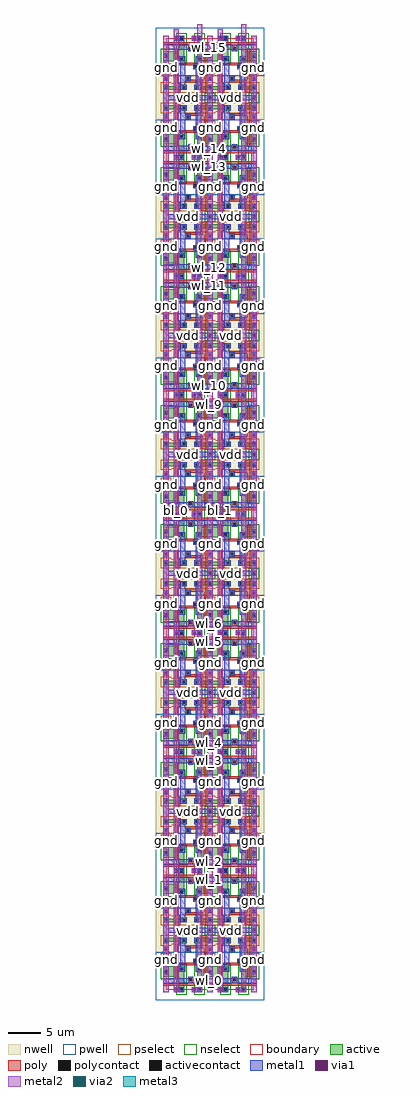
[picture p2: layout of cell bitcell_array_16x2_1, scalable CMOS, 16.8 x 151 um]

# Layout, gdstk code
import gdstk
lib = gdstk.Library(unit=1e-6, precision=1e-09)
def R(c, l, rs):  # rectangles x0, y0, x1, y1
    for r in rs: c.add(gdstk.rectangle(r[:2], r[2:], *l))
def A(c, l, x, y, w, h, nx, ny, dx, dy):  # array of equal rectangles
    R(c, l, [(x+i*dx, y+j*dy, x+i*dx+w, y+j*dy+h) for i in range(nx) for j in range(ny)])
pwell = (41, 0)
nwell = (42, 0)
active = (43, 0)
pselect = (44, 0)
nselect = (45, 0)
poly = (46, 0)
polycontact = (47, 0)
activecontact = (48, 0)
metal1 = (49, 0)
via1 = (50, 0)
metal2 = (51, 0)
via2 = (61, 0)
metal3 = (62, 0)
boundary = (63, 0)

cell_6t = lib.new_cell('cell_6t')
R(cell_6t, pwell, [(-1.6,-1.6,8.4,5.8)])
R(cell_6t, nwell, [(-1.6,5.8,8.4,10.2)])
A(cell_6t, active, 2.4, 7.2, 0.8, 0.2, 3, 1, 2, 0)
R(cell_6t, active, [(2,-0.4,2.8,2), (4.8,-0.4,5.6,2), (-0.4,2,2.8,3.6), (4.8,2,7.2,3.6), (-0.4,4.4,0.4,5.2), (6.4,4.4,7.2,5.2), (-0.4,7.2,0.4,7.4), (-0.4,7.4,3.2,8), (4.4,7.4,7.2,8), (6.4,8.8,7.2,9.6)])
R(cell_6t, pselect, [(-0.8,4,0.8,5.6), (6,4,7.6,5.6), (-0.8,6.8,0.8,7), (2,6.8,7.6,7), (-0.8,7,7.6,8.4)])
R(cell_6t, nselect, [(1.6,-0.8,3.2,1.6), (4.4,-0.8,6,1.6), (-0.8,1.6,3.2,4), (4.4,1.6,7.6,4), (6,8.4,7.6,10)])
R(cell_6t, poly, [(-0.4,0.6,7.2,1), (3.4,1,4.2,2), (1.4,1.6,1.8,3.8), (5.8,1.6,6.2,6.4), (1.4,3.8,4.8,4), (1.4,4,5,4.2), (1.4,4.2,1.8,7), (4.2,4.2,5,4.8), (3,5.8,3.8,6.4), (3,6.4,6.2,6.8), (5.4,6.8,6.2,8.4), (1.4,7,2.2,8.4)])
R(cell_6t, polycontact, [(3.6,1.4,4,1.8), (4.4,4.2,4.8,4.6), (3.2,6,3.6,6.4)])
A(cell_6t, activecontact, 2.6, 7.4, 0.4, 0.4, 3, 1, 2, 0)
R(cell_6t, activecontact, [(2.2,-0.2,2.6,0.2), (5,-0.2,5.4,0.2), (-0.2,2.6,0.2,3), (6.6,2.6,7,3), (2.2,3,2.6,3.4), (5,3,5.4,3.4), (-0.2,4.6,0.2,5), (6.6,4.6,7,5), (-0.2,7.4,0.2,7.8), (6.6,9,7,9.4)])
R(cell_6t, metal1, [(1.2,-0.4,2.8,0.4), (4,-0.4,5.6,0.4), (-0.4,1,7.2,1.8), (-0.4,1,7.2,1.8), (3.4,1.8,4.2,2), (-0.4,2.4,0.4,6.6), (6.4,2.4,7.2,6.6), (2,2.8,3,3.6), (4.6,2.8,5.6,3.6), (2.2,3.6,3,5.8), (4.6,3.6,5.4,4), (4.2,4,5.4,4.8), (4.6,4.8,5.4,7.2), (2.2,5.8,3.8,6.6), (2.2,6.6,3,7.2), (-0.4,7.2,0.4,8.8), (2.2,7.2,3.2,8), (4.4,7.2,5.4,8), (6.4,7.2,7.2,8.8), (-0.4,8.8,7.2,9.6)])
R(cell_6t, via1, [(1.4,-0.2,1.8,0.2), (4.2,-0.2,4.6,0.2), (-0.2,6,0.2,6.4), (6.6,6,7,6.4), (3.2,9,3.6,9.4)])
R(cell_6t, metal2, [(-0.4,-0.4,0.4,9.6), (-0.4,-0.4,0.4,9.6), (1.2,-0.4,2,9.6), (1.2,-0.4,2,9.6), (4,-0.4,5.6,0.4), (6.4,-0.4,7.2,9.6), (6.4,-0.4,7.2,9.6), (4.8,0.4,5.6,9.6), (4.8,0.4,5.6,9.6), (3,8.8,3.8,9.6), (3,8.8,3.8,9.6)])
R(cell_6t, boundary, [(0,0,6.8,9.2)])
cell_6t.add(gdstk.Label('gnd', (0,0), layer=51, texttype=0))
cell_6t.add(gdstk.Label('gnd', (6.8,0), layer=51, texttype=0))
cell_6t.add(gdstk.Label('vdd', (3.4,9.2), layer=51, texttype=0))
cell_6t.add(gdstk.Label('bl', (1.6,8.6), layer=51, texttype=0))
cell_6t.add(gdstk.Label('br', (5.2,8.6), layer=51, texttype=0))
cell_6t.add(gdstk.Label('wl', (0.8,1.4), layer=49, texttype=0))
cell_6t.add(gdstk.Label('bl', (1.6,4.6), layer=51, texttype=0))
cell_6t.add(gdstk.Label('br', (5.2,5), layer=51, texttype=0))
cell_6t.add(gdstk.Label('wl', (3.4,1.4), layer=49, texttype=0))
cell_6t.add(gdstk.Label('vdd', (3.4,9.2), layer=51, texttype=0))
cell_6t.add(gdstk.Label('gnd', (0,4.6), layer=51, texttype=0))
cell_6t.add(gdstk.Label('gnd', (6.8,4.6), layer=51, texttype=0))

metal2_via2_metal3_1x1 = lib.new_cell('metal2_via2_metal3_1x1')
R(metal2_via2_metal3_1x1, metal2, [(0,0,0.8,0.8)])
R(metal2_via2_metal3_1x1, via2, [(0.2,0.2,0.6,0.6)])
R(metal2_via2_metal3_1x1, metal3, [(0,0,0.8,0.8)])

bitcell_array_16x2_1 = lib.new_cell('bitcell_array_16x2_1')
R(bitcell_array_16x2_1, metal1, [(-0.4,1,13.8,1.8), (-0.4,16.6,13.8,17.4), (-0.4,19.4,13.8,20.2), (-0.4,35,13.8,35.8), (-0.4,37.8,13.8,38.6), (-0.4,53.4,13.8,54.2), (-0.4,56.2,13.8,57), (-0.4,71.8,13.8,72.6), (-0.4,74.6,13.8,75.4), (-0.4,90.2,13.8,91), (-0.4,93,13.8,93.8), (-0.4,108.6,13.8,109.4), (-0.4,111.4,13.8,112.2), (-0.4,127,13.8,127.8), (-0.4,129.8,13.8,130.6), (-0.4,145.4,13.8,146.2)])
R(bitcell_array_16x2_1, metal2, [(1.2,-0.4,2,148.6), (8,-0.4,8.8,148.6), (4.8,0.4,5.6,149.4), (11.6,0.4,12.4,149.4)])
A(bitcell_array_16x2_1, metal3, -0.4, 4.2, 0.8, 0.8, 3, 16, 6.8, 9.2)
A(bitcell_array_16x2_1, metal3, 3, 8.8, 0.8, 0.8, 1, 8, 0, 18.4)
A(bitcell_array_16x2_1, metal3, 9.8, 8.8, 0.8, 0.8, 1, 8, 0, 18.4)
bitcell_array_16x2_1.add(gdstk.Reference(cell_6t, (0,0)))
bitcell_array_16x2_1.add(gdstk.Reference(cell_6t, (0,18.4), x_reflection=True))
bitcell_array_16x2_1.add(gdstk.Reference(cell_6t, (0,18.4)))
bitcell_array_16x2_1.add(gdstk.Reference(cell_6t, (0,36.8), x_reflection=True))
bitcell_array_16x2_1.add(gdstk.Reference(cell_6t, (0,36.8)))
bitcell_array_16x2_1.add(gdstk.Reference(cell_6t, (0,55.2), x_reflection=True))
bitcell_array_16x2_1.add(gdstk.Reference(cell_6t, (0,55.2)))
bitcell_array_16x2_1.add(gdstk.Reference(cell_6t, (0,73.6), x_reflection=True))
bitcell_array_16x2_1.add(gdstk.Reference(cell_6t, (0,73.6)))
bitcell_array_16x2_1.add(gdstk.Reference(cell_6t, (0,92), x_reflection=True))
bitcell_array_16x2_1.add(gdstk.Reference(cell_6t, (0,92)))
bitcell_array_16x2_1.add(gdstk.Reference(cell_6t, (0,110.4), x_reflection=True))
bitcell_array_16x2_1.add(gdstk.Reference(cell_6t, (0,110.4)))
bitcell_array_16x2_1.add(gdstk.Reference(cell_6t, (0,128.8), x_reflection=True))
bitcell_array_16x2_1.add(gdstk.Reference(cell_6t, (0,128.8)))
bitcell_array_16x2_1.add(gdstk.Reference(cell_6t, (0,147.2), x_reflection=True))
bitcell_array_16x2_1.add(gdstk.Reference(cell_6t, (6.8,0)))
bitcell_array_16x2_1.add(gdstk.Reference(cell_6t, (6.8,18.4), x_reflection=True))
bitcell_array_16x2_1.add(gdstk.Reference(cell_6t, (6.8,18.4)))
bitcell_array_16x2_1.add(gdstk.Reference(cell_6t, (6.8,36.8), x_reflection=True))
bitcell_array_16x2_1.add(gdstk.Reference(cell_6t, (6.8,36.8)))
bitcell_array_16x2_1.add(gdstk.Reference(cell_6t, (6.8,55.2), x_reflection=True))
bitcell_array_16x2_1.add(gdstk.Reference(cell_6t, (6.8,55.2)))
bitcell_array_16x2_1.add(gdstk.Reference(cell_6t, (6.8,73.6), x_reflection=True))
bitcell_array_16x2_1.add(gdstk.Reference(cell_6t, (6.8,73.6)))
bitcell_array_16x2_1.add(gdstk.Reference(cell_6t, (6.8,92), x_reflection=True))
bitcell_array_16x2_1.add(gdstk.Reference(cell_6t, (6.8,92)))
bitcell_array_16x2_1.add(gdstk.Reference(cell_6t, (6.8,110.4), x_reflection=True))
bitcell_array_16x2_1.add(gdstk.Reference(cell_6t, (6.8,110.4)))
bitcell_array_16x2_1.add(gdstk.Reference(cell_6t, (6.8,128.8), x_reflection=True))
bitcell_array_16x2_1.add(gdstk.Reference(cell_6t, (6.8,128.8)))
bitcell_array_16x2_1.add(gdstk.Reference(cell_6t, (6.8,147.2), x_reflection=True))
bitcell_array_16x2_1.add(gdstk.Reference(metal2_via2_metal3_1x1, (3,8.8)))
bitcell_array_16x2_1.add(gdstk.Reference(metal2_via2_metal3_1x1, (-0.4,4.2)))
bitcell_array_16x2_1.add(gdstk.Reference(metal2_via2_metal3_1x1, (6.4,4.2)))
bitcell_array_16x2_1.add(gdstk.Reference(metal2_via2_metal3_1x1, (9.8,8.8)))
bitcell_array_16x2_1.add(gdstk.Reference(metal2_via2_metal3_1x1, (6.4,4.2)))
bitcell_array_16x2_1.add(gdstk.Reference(metal2_via2_metal3_1x1, (13.2,4.2)))
bitcell_array_16x2_1.add(gdstk.Reference(metal2_via2_metal3_1x1, (3,8.8)))
bitcell_array_16x2_1.add(gdstk.Reference(metal2_via2_metal3_1x1, (-0.4,13.4)))
bitcell_array_16x2_1.add(gdstk.Reference(metal2_via2_metal3_1x1, (6.4,13.4)))
bitcell_array_16x2_1.add(gdstk.Reference(metal2_via2_metal3_1x1, (9.8,8.8)))
bitcell_array_16x2_1.add(gdstk.Reference(metal2_via2_metal3_1x1, (6.4,13.4)))
bitcell_array_16x2_1.add(gdstk.Reference(metal2_via2_metal3_1x1, (13.2,13.4)))
bitcell_array_16x2_1.add(gdstk.Reference(metal2_via2_metal3_1x1, (3,27.2)))
bitcell_array_16x2_1.add(gdstk.Reference(metal2_via2_metal3_1x1, (-0.4,22.6)))
bitcell_array_16x2_1.add(gdstk.Reference(metal2_via2_metal3_1x1, (6.4,22.6)))
bitcell_array_16x2_1.add(gdstk.Reference(metal2_via2_metal3_1x1, (9.8,27.2)))
bitcell_array_16x2_1.add(gdstk.Reference(metal2_via2_metal3_1x1, (6.4,22.6)))
bitcell_array_16x2_1.add(gdstk.Reference(metal2_via2_metal3_1x1, (13.2,22.6)))
bitcell_array_16x2_1.add(gdstk.Reference(metal2_via2_metal3_1x1, (3,27.2)))
bitcell_array_16x2_1.add(gdstk.Reference(metal2_via2_metal3_1x1, (-0.4,31.8)))
bitcell_array_16x2_1.add(gdstk.Reference(metal2_via2_metal3_1x1, (6.4,31.8)))
bitcell_array_16x2_1.add(gdstk.Reference(metal2_via2_metal3_1x1, (9.8,27.2)))
bitcell_array_16x2_1.add(gdstk.Reference(metal2_via2_metal3_1x1, (6.4,31.8)))
bitcell_array_16x2_1.add(gdstk.Reference(metal2_via2_metal3_1x1, (13.2,31.8)))
bitcell_array_16x2_1.add(gdstk.Reference(metal2_via2_metal3_1x1, (3,45.6)))
bitcell_array_16x2_1.add(gdstk.Reference(metal2_via2_metal3_1x1, (-0.4,41)))
bitcell_array_16x2_1.add(gdstk.Reference(metal2_via2_metal3_1x1, (6.4,41)))
bitcell_array_16x2_1.add(gdstk.Reference(metal2_via2_metal3_1x1, (9.8,45.6)))
bitcell_array_16x2_1.add(gdstk.Reference(metal2_via2_metal3_1x1, (6.4,41)))
bitcell_array_16x2_1.add(gdstk.Reference(metal2_via2_metal3_1x1, (13.2,41)))
bitcell_array_16x2_1.add(gdstk.Reference(metal2_via2_metal3_1x1, (3,45.6)))
bitcell_array_16x2_1.add(gdstk.Reference(metal2_via2_metal3_1x1, (-0.4,50.2)))
bitcell_array_16x2_1.add(gdstk.Reference(metal2_via2_metal3_1x1, (6.4,50.2)))
bitcell_array_16x2_1.add(gdstk.Reference(metal2_via2_metal3_1x1, (9.8,45.6)))
bitcell_array_16x2_1.add(gdstk.Reference(metal2_via2_metal3_1x1, (6.4,50.2)))
bitcell_array_16x2_1.add(gdstk.Reference(metal2_via2_metal3_1x1, (13.2,50.2)))
bitcell_array_16x2_1.add(gdstk.Reference(metal2_via2_metal3_1x1, (3,64)))
bitcell_array_16x2_1.add(gdstk.Reference(metal2_via2_metal3_1x1, (-0.4,59.4)))
bitcell_array_16x2_1.add(gdstk.Reference(metal2_via2_metal3_1x1, (6.4,59.4)))
bitcell_array_16x2_1.add(gdstk.Reference(metal2_via2_metal3_1x1, (9.8,64)))
bitcell_array_16x2_1.add(gdstk.Reference(metal2_via2_metal3_1x1, (6.4,59.4)))
bitcell_array_16x2_1.add(gdstk.Reference(metal2_via2_metal3_1x1, (13.2,59.4)))
bitcell_array_16x2_1.add(gdstk.Reference(metal2_via2_metal3_1x1, (3,64)))
bitcell_array_16x2_1.add(gdstk.Reference(metal2_via2_metal3_1x1, (-0.4,68.6)))
bitcell_array_16x2_1.add(gdstk.Reference(metal2_via2_metal3_1x1, (6.4,68.6)))
bitcell_array_16x2_1.add(gdstk.Reference(metal2_via2_metal3_1x1, (9.8,64)))
bitcell_array_16x2_1.add(gdstk.Reference(metal2_via2_metal3_1x1, (6.4,68.6)))
bitcell_array_16x2_1.add(gdstk.Reference(metal2_via2_metal3_1x1, (13.2,68.6)))
bitcell_array_16x2_1.add(gdstk.Reference(metal2_via2_metal3_1x1, (3,82.4)))
bitcell_array_16x2_1.add(gdstk.Reference(metal2_via2_metal3_1x1, (-0.4,77.8)))
bitcell_array_16x2_1.add(gdstk.Reference(metal2_via2_metal3_1x1, (6.4,77.8)))
bitcell_array_16x2_1.add(gdstk.Reference(metal2_via2_metal3_1x1, (9.8,82.4)))
bitcell_array_16x2_1.add(gdstk.Reference(metal2_via2_metal3_1x1, (6.4,77.8)))
bitcell_array_16x2_1.add(gdstk.Reference(metal2_via2_metal3_1x1, (13.2,77.8)))
bitcell_array_16x2_1.add(gdstk.Reference(metal2_via2_metal3_1x1, (3,82.4)))
bitcell_array_16x2_1.add(gdstk.Reference(metal2_via2_metal3_1x1, (-0.4,87)))
bitcell_array_16x2_1.add(gdstk.Reference(metal2_via2_metal3_1x1, (6.4,87)))
bitcell_array_16x2_1.add(gdstk.Reference(metal2_via2_metal3_1x1, (9.8,82.4)))
bitcell_array_16x2_1.add(gdstk.Reference(metal2_via2_metal3_1x1, (6.4,87)))
bitcell_array_16x2_1.add(gdstk.Reference(metal2_via2_metal3_1x1, (13.2,87)))
bitcell_array_16x2_1.add(gdstk.Reference(metal2_via2_metal3_1x1, (3,100.8)))
bitcell_array_16x2_1.add(gdstk.Reference(metal2_via2_metal3_1x1, (-0.4,96.2)))
bitcell_array_16x2_1.add(gdstk.Reference(metal2_via2_metal3_1x1, (6.4,96.2)))
bitcell_array_16x2_1.add(gdstk.Reference(metal2_via2_metal3_1x1, (9.8,100.8)))
bitcell_array_16x2_1.add(gdstk.Reference(metal2_via2_metal3_1x1, (6.4,96.2)))
bitcell_array_16x2_1.add(gdstk.Reference(metal2_via2_metal3_1x1, (13.2,96.2)))
bitcell_array_16x2_1.add(gdstk.Reference(metal2_via2_metal3_1x1, (3,100.8)))
bitcell_array_16x2_1.add(gdstk.Reference(metal2_via2_metal3_1x1, (-0.4,105.4)))
bitcell_array_16x2_1.add(gdstk.Reference(metal2_via2_metal3_1x1, (6.4,105.4)))
bitcell_array_16x2_1.add(gdstk.Reference(metal2_via2_metal3_1x1, (9.8,100.8)))
bitcell_array_16x2_1.add(gdstk.Reference(metal2_via2_metal3_1x1, (6.4,105.4)))
bitcell_array_16x2_1.add(gdstk.Reference(metal2_via2_metal3_1x1, (13.2,105.4)))
bitcell_array_16x2_1.add(gdstk.Reference(metal2_via2_metal3_1x1, (3,119.2)))
bitcell_array_16x2_1.add(gdstk.Reference(metal2_via2_metal3_1x1, (-0.4,114.6)))
bitcell_array_16x2_1.add(gdstk.Reference(metal2_via2_metal3_1x1, (6.4,114.6)))
bitcell_array_16x2_1.add(gdstk.Reference(metal2_via2_metal3_1x1, (9.8,119.2)))
bitcell_array_16x2_1.add(gdstk.Reference(metal2_via2_metal3_1x1, (6.4,114.6)))
bitcell_array_16x2_1.add(gdstk.Reference(metal2_via2_metal3_1x1, (13.2,114.6)))
bitcell_array_16x2_1.add(gdstk.Reference(metal2_via2_metal3_1x1, (3,119.2)))
bitcell_array_16x2_1.add(gdstk.Reference(metal2_via2_metal3_1x1, (-0.4,123.8)))
bitcell_array_16x2_1.add(gdstk.Reference(metal2_via2_metal3_1x1, (6.4,123.8)))
bitcell_array_16x2_1.add(gdstk.Reference(metal2_via2_metal3_1x1, (9.8,119.2)))
bitcell_array_16x2_1.add(gdstk.Reference(metal2_via2_metal3_1x1, (6.4,123.8)))
bitcell_array_16x2_1.add(gdstk.Reference(metal2_via2_metal3_1x1, (13.2,123.8)))
bitcell_array_16x2_1.add(gdstk.Reference(metal2_via2_metal3_1x1, (3,137.6)))
bitcell_array_16x2_1.add(gdstk.Reference(metal2_via2_metal3_1x1, (-0.4,133)))
bitcell_array_16x2_1.add(gdstk.Reference(metal2_via2_metal3_1x1, (6.4,133)))
bitcell_array_16x2_1.add(gdstk.Reference(metal2_via2_metal3_1x1, (9.8,137.6)))
bitcell_array_16x2_1.add(gdstk.Reference(metal2_via2_metal3_1x1, (6.4,133)))
bitcell_array_16x2_1.add(gdstk.Reference(metal2_via2_metal3_1x1, (13.2,133)))
bitcell_array_16x2_1.add(gdstk.Reference(metal2_via2_metal3_1x1, (3,137.6)))
bitcell_array_16x2_1.add(gdstk.Reference(metal2_via2_metal3_1x1, (-0.4,142.2)))
bitcell_array_16x2_1.add(gdstk.Reference(metal2_via2_metal3_1x1, (6.4,142.2)))
bitcell_array_16x2_1.add(gdstk.Reference(metal2_via2_metal3_1x1, (9.8,137.6)))
bitcell_array_16x2_1.add(gdstk.Reference(metal2_via2_metal3_1x1, (6.4,142.2)))
bitcell_array_16x2_1.add(gdstk.Reference(metal2_via2_metal3_1x1, (13.2,142.2)))
bitcell_array_16x2_1.add(gdstk.Label('bl_0', (1.6,74.1), layer=51, texttype=0))
bitcell_array_16x2_1.add(gdstk.Label('br_0', (5.2,74.9), layer=51, texttype=0))
bitcell_array_16x2_1.add(gdstk.Label('bl_1', (8.4,74.1), layer=51, texttype=0))
bitcell_array_16x2_1.add(gdstk.Label('br_1', (12,74.9), layer=51, texttype=0))
bitcell_array_16x2_1.add(gdstk.Label('wl_0', (6.7,1.4), layer=49, texttype=0))
bitcell_array_16x2_1.add(gdstk.Label('wl_1', (6.7,17), layer=49, texttype=0))
bitcell_array_16x2_1.add(gdstk.Label('wl_2', (6.7,19.8), layer=49, texttype=0))
bitcell_array_16x2_1.add(gdstk.Label('wl_3', (6.7,35.4), layer=49, texttype=0))
bitcell_array_16x2_1.add(gdstk.Label('wl_4', (6.7,38.2), layer=49, texttype=0))
bitcell_array_16x2_1.add(gdstk.Label('wl_5', (6.7,53.8), layer=49, texttype=0))
bitcell_array_16x2_1.add(gdstk.Label('wl_6', (6.7,56.6), layer=49, texttype=0))
bitcell_array_16x2_1.add(gdstk.Label('wl_7', (6.7,72.2), layer=49, texttype=0))
bitcell_array_16x2_1.add(gdstk.Label('wl_8', (6.7,75), layer=49, texttype=0))
bitcell_array_16x2_1.add(gdstk.Label('wl_9', (6.7,90.6), layer=49, texttype=0))
bitcell_array_16x2_1.add(gdstk.Label('wl_10', (6.7,93.4), layer=49, texttype=0))
bitcell_array_16x2_1.add(gdstk.Label('wl_11', (6.7,109), layer=49, texttype=0))
bitcell_array_16x2_1.add(gdstk.Label('wl_12', (6.7,111.8), layer=49, texttype=0))
bitcell_array_16x2_1.add(gdstk.Label('wl_13', (6.7,127.4), layer=49, texttype=0))
bitcell_array_16x2_1.add(gdstk.Label('wl_14', (6.7,130.2), layer=49, texttype=0))
bitcell_array_16x2_1.add(gdstk.Label('wl_15', (6.7,145.8), layer=49, texttype=0))
bitcell_array_16x2_1.add(gdstk.Label('vdd', (3.4,9.2), layer=62, texttype=0))
bitcell_array_16x2_1.add(gdstk.Label('vdd', (10.2,9.2), layer=62, texttype=0))
bitcell_array_16x2_1.add(gdstk.Label('vdd', (3.4,27.6), layer=62, texttype=0))
bitcell_array_16x2_1.add(gdstk.Label('vdd', (10.2,27.6), layer=62, texttype=0))
bitcell_array_16x2_1.add(gdstk.Label('vdd', (3.4,46), layer=62, texttype=0))
bitcell_array_16x2_1.add(gdstk.Label('vdd', (10.2,46), layer=62, texttype=0))
bitcell_array_16x2_1.add(gdstk.Label('vdd', (3.4,64.4), layer=62, texttype=0))
bitcell_array_16x2_1.add(gdstk.Label('vdd', (10.2,64.4), layer=62, texttype=0))
bitcell_array_16x2_1.add(gdstk.Label('vdd', (3.4,82.8), layer=62, texttype=0))
bitcell_array_16x2_1.add(gdstk.Label('vdd', (10.2,82.8), layer=62, texttype=0))
bitcell_array_16x2_1.add(gdstk.Label('vdd', (3.4,101.2), layer=62, texttype=0))
bitcell_array_16x2_1.add(gdstk.Label('vdd', (10.2,101.2), layer=62, texttype=0))
bitcell_array_16x2_1.add(gdstk.Label('vdd', (3.4,119.6), layer=62, texttype=0))
bitcell_array_16x2_1.add(gdstk.Label('vdd', (10.2,119.6), layer=62, texttype=0))
bitcell_array_16x2_1.add(gdstk.Label('vdd', (3.4,138), layer=62, texttype=0))
bitcell_array_16x2_1.add(gdstk.Label('vdd', (10.2,138), layer=62, texttype=0))
bitcell_array_16x2_1.add(gdstk.Label('gnd', (0,4.6), layer=62, texttype=0))
bitcell_array_16x2_1.add(gdstk.Label('gnd', (6.8,4.6), layer=62, texttype=0))
bitcell_array_16x2_1.add(gdstk.Label('gnd', (13.6,4.6), layer=62, texttype=0))
bitcell_array_16x2_1.add(gdstk.Label('gnd', (0,13.8), layer=62, texttype=0))
bitcell_array_16x2_1.add(gdstk.Label('gnd', (6.8,13.8), layer=62, texttype=0))
bitcell_array_16x2_1.add(gdstk.Label('gnd', (13.6,13.8), layer=62, texttype=0))
bitcell_array_16x2_1.add(gdstk.Label('gnd', (0,23), layer=62, texttype=0))
bitcell_array_16x2_1.add(gdstk.Label('gnd', (6.8,23), layer=62, texttype=0))
bitcell_array_16x2_1.add(gdstk.Label('gnd', (13.6,23), layer=62, texttype=0))
bitcell_array_16x2_1.add(gdstk.Label('gnd', (0,32.2), layer=62, texttype=0))
bitcell_array_16x2_1.add(gdstk.Label('gnd', (6.8,32.2), layer=62, texttype=0))
bitcell_array_16x2_1.add(gdstk.Label('gnd', (13.6,32.2), layer=62, texttype=0))
bitcell_array_16x2_1.add(gdstk.Label('gnd', (0,41.4), layer=62, texttype=0))
bitcell_array_16x2_1.add(gdstk.Label('gnd', (6.8,41.4), layer=62, texttype=0))
bitcell_array_16x2_1.add(gdstk.Label('gnd', (13.6,41.4), layer=62, texttype=0))
bitcell_array_16x2_1.add(gdstk.Label('gnd', (0,50.6), layer=62, texttype=0))
bitcell_array_16x2_1.add(gdstk.Label('gnd', (6.8,50.6), layer=62, texttype=0))
bitcell_array_16x2_1.add(gdstk.Label('gnd', (13.6,50.6), layer=62, texttype=0))
bitcell_array_16x2_1.add(gdstk.Label('gnd', (0,59.8), layer=62, texttype=0))
bitcell_array_16x2_1.add(gdstk.Label('gnd', (6.8,59.8), layer=62, texttype=0))
bitcell_array_16x2_1.add(gdstk.Label('gnd', (13.6,59.8), layer=62, texttype=0))
bitcell_array_16x2_1.add(gdstk.Label('gnd', (0,69), layer=62, texttype=0))
bitcell_array_16x2_1.add(gdstk.Label('gnd', (6.8,69), layer=62, texttype=0))
bitcell_array_16x2_1.add(gdstk.Label('gnd', (13.6,69), layer=62, texttype=0))
bitcell_array_16x2_1.add(gdstk.Label('gnd', (0,78.2), layer=62, texttype=0))
bitcell_array_16x2_1.add(gdstk.Label('gnd', (6.8,78.2), layer=62, texttype=0))
bitcell_array_16x2_1.add(gdstk.Label('gnd', (13.6,78.2), layer=62, texttype=0))
bitcell_array_16x2_1.add(gdstk.Label('gnd', (0,87.4), layer=62, texttype=0))
bitcell_array_16x2_1.add(gdstk.Label('gnd', (6.8,87.4), layer=62, texttype=0))
bitcell_array_16x2_1.add(gdstk.Label('gnd', (13.6,87.4), layer=62, texttype=0))
bitcell_array_16x2_1.add(gdstk.Label('gnd', (0,96.6), layer=62, texttype=0))
bitcell_array_16x2_1.add(gdstk.Label('gnd', (6.8,96.6), layer=62, texttype=0))
bitcell_array_16x2_1.add(gdstk.Label('gnd', (13.6,96.6), layer=62, texttype=0))
bitcell_array_16x2_1.add(gdstk.Label('gnd', (0,105.8), layer=62, texttype=0))
bitcell_array_16x2_1.add(gdstk.Label('gnd', (6.8,105.8), layer=62, texttype=0))
bitcell_array_16x2_1.add(gdstk.Label('gnd', (13.6,105.8), layer=62, texttype=0))
bitcell_array_16x2_1.add(gdstk.Label('gnd', (0,115), layer=62, texttype=0))
bitcell_array_16x2_1.add(gdstk.Label('gnd', (6.8,115), layer=62, texttype=0))
bitcell_array_16x2_1.add(gdstk.Label('gnd', (13.6,115), layer=62, texttype=0))
bitcell_array_16x2_1.add(gdstk.Label('gnd', (0,124.2), layer=62, texttype=0))
bitcell_array_16x2_1.add(gdstk.Label('gnd', (6.8,124.2), layer=62, texttype=0))
bitcell_array_16x2_1.add(gdstk.Label('gnd', (13.6,124.2), layer=62, texttype=0))
bitcell_array_16x2_1.add(gdstk.Label('gnd', (0,133.4), layer=62, texttype=0))
bitcell_array_16x2_1.add(gdstk.Label('gnd', (6.8,133.4), layer=62, texttype=0))
bitcell_array_16x2_1.add(gdstk.Label('gnd', (13.6,133.4), layer=62, texttype=0))
bitcell_array_16x2_1.add(gdstk.Label('gnd', (0,142.6), layer=62, texttype=0))
bitcell_array_16x2_1.add(gdstk.Label('gnd', (6.8,142.6), layer=62, texttype=0))
bitcell_array_16x2_1.add(gdstk.Label('gnd', (13.6,142.6), layer=62, texttype=0))

lib.write_gds('bitcell_array_16x2_1.gds')
